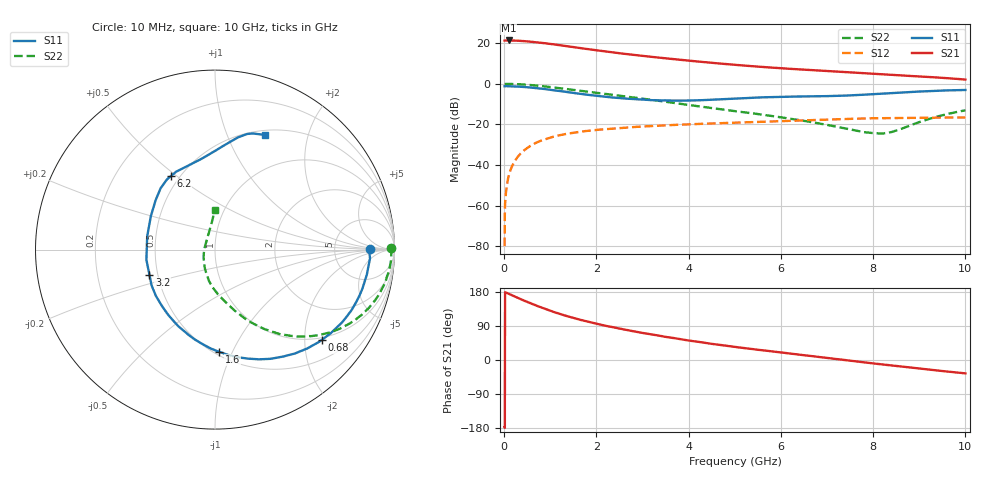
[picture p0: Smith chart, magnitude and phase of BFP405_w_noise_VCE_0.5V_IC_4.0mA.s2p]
! Infineon Technologies  Discrete & RF Semiconductors
! BFP405
! VCE =  0.5 V,  IC =  4.0 mA
! Common Emitter S-Parameters:  Jan 2016
# GHz  S  MA  R  50
!  f  S11  S21  S12  S22
! GHz  MAG  ANG  MAG  ANG  MAG  ANG  MAG  ANG
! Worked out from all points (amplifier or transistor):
!   233 points, 10 MHz to 10 GHz, reference 50 ohm
!   highest |S21| = 21.2 dB at 100 MHz (marker M1)
!   |S21| within 3 dB of that: start of sweep to 1.417 GHz
!   unconditionally stable (mu >= 1): start of sweep to 14.44 MHz; 3.411 GHz to end of sweep
!   at 200 MHz: K = 0.09, MSG = 30.3 dB, |S12| = -39.4 dB
!   at 1.74 GHz: K = 0.54, MSG = 20.3 dB, |S12| = -23.4 dB
!   at 10 GHz: K = 1.55, MAG = 5.0 dB, |S12| = -16.7 dB
!   lowest NFmin = 1.10 dB at 900 MHz
!   S11 on the Smith chart (normalised r, x): 10 MHz: 13, +0; 680 MHz: 0.94, -2.41; 1.6 GHz: 0.53, -0.89; 3.2 GHz: 0.45, -0.15; 6.2 GHz: 0.45, +0.47; 10 GHz: 0.55, +1.37
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0.01  0.8611 0.3  11.46 -177.1  0.0001 25.4  0.9786 0.6
0.015  0.8608 -0.5  11.46 -179.2  0.0006 77.9  0.9801 0.0
0.02  0.8606 -1.3  11.47 178.8  0.0011 82.0  0.9816 -0.5
0.1  0.86 -6.0  11.52 174.4  0.0054 86.4  0.9827 -3.5
0.26  0.8481 -15.7  11.44 165.9  0.0139 81.3  0.9687 -9.3
0.4  0.8313 -24.2  11.18 158.4  0.0212 76.9  0.9526 -14.1
0.68  0.7794 -40.2  10.45 144.5  0.0345 68.0  0.8992 -23.2
0.9  0.7304 -52.4  9.805 134.2  0.0432 62.1  0.8484 -29.6
1.1  0.6829 -63.0  9.166 125.8  0.0504 57.1  0.7984 -34.9
1.38  0.617 -77.1  8.268 115.1  0.0587 51.1  0.729 -41.2
1.6  0.5701 -87.7  7.633 107.7  0.0641 47.2  0.6783 -45.6
1.68  0.5555 -91.4  7.406 105.2  0.066 45.8  0.6601 -47.0
2  0.5005 -106.4  6.6 95.7  0.0725 41.0  0.5946 -52.4
2.38  0.4523 -123.7  5.808 85.8  0.0789 36.2  0.5249 -57.8
3.2  0.3915 -158.8  4.545 67.6  0.0904 27.8  0.3984 -68.1
3.4  0.386 -167.3  4.301 63.3  0.0929 26.1  0.3707 -70.7
4  0.3848 169.1  3.672 51.4  0.0996 21.2  0.2979 -78.8
5.1  0.4344 138.6  2.837 33.0  0.1101 13.2  0.2036 -95.0
6.2  0.4773 121.1  2.311 17.1  0.1208 6.4  0.137 -111.3
6.8  0.4877 111.0  2.099 8.4  0.1275 2.4  0.1059 -123.9
8.4  0.5851 84.7  1.641 -14.4  0.1421 -10.7  0.0643 140.1
10  0.6967 66.5  1.259 -35.3  0.1467 -21.6  0.2204 90.6
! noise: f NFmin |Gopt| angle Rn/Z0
0.9  1.1  0.42  13  0.34
1.8  1.39  0.33  21  0.32
2.4  1.55  0.28  31  0.32
3  1.58  0.26  47  0.29
4  1.76  0.14  70  0.25
5  2.11  0.09  124  0.22
